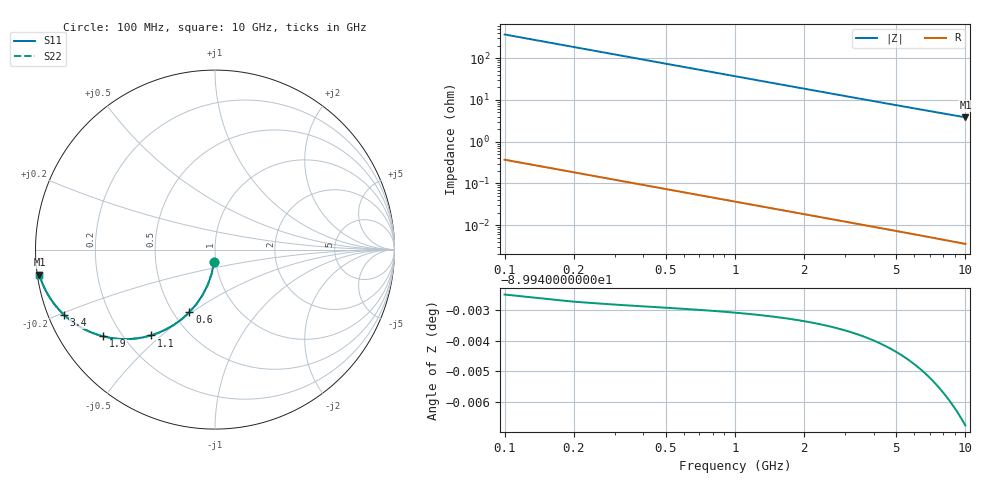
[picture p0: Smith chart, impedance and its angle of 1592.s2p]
# Hz S RI R 50.00
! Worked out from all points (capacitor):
!   100 points, 100 MHz to 10 GHz, reference 50 ohm
!   read as one part in shunt: C = 4.32 pF near 100 MHz
!   lowest |Z| = 3.83 ohm at 10 GHz (marker M1)
!   S11 on the Smith chart (normalised r, x): 100 MHz: 0.98, -0.13; 600 MHz: 0.60, -0.49; 1.1 GHz: 0.31, -0.46; 1.9 GHz: 0.13, -0.34; 3.4 GHz: 0.05, -0.21; 10 GHz: 0.01, -0.07
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1e8  -0.00464 -0.0674  0.9953 -0.0675  0.9953 -0.0675  -0.00464 -0.0674
2e8  -0.0182 -0.133  0.9818 -0.1332  0.9818 -0.1332  -0.0182 -0.133
3e8  -0.0399 -0.1951  0.9601 -0.1954  0.9601 -0.1954  -0.0399 -0.1951
4e8  -0.0687 -0.2522  0.9313 -0.2526  0.9313 -0.2526  -0.0687 -0.2522
5e8  -0.1032 -0.3035  0.8968 -0.304  0.8968 -0.304  -0.1032 -0.3035
6e8  -0.1421 -0.3484  0.8579 -0.3489  0.8579 -0.3489  -0.1421 -0.3484
7e8  -0.1838 -0.3865  0.8161 -0.3872  0.8161 -0.3872  -0.1838 -0.3865
8e8  -0.2272 -0.4181  0.7728 -0.4189  0.7728 -0.4189  -0.2272 -0.4181
9e8  -0.271 -0.4436  0.7289 -0.4444  0.7289 -0.4444  -0.271 -0.4436
1.1e9  -0.3568 -0.478  0.6432 -0.4791  0.6432 -0.4791  -0.3568 -0.478
1.4e9  -0.4728 -0.4981  0.5272 -0.4994  0.5272 -0.4994  -0.4728 -0.4981
1.8e9  -0.5966 -0.4892  0.4034 -0.4909  0.4034 -0.4909  -0.5966 -0.4892
1.9e9  -0.6222 -0.4834  0.3778 -0.4852  0.3778 -0.4852  -0.6222 -0.4834
2.2e9  -0.6879 -0.4618  0.312 -0.4639  0.312 -0.4639  -0.6879 -0.4618
2.6e9  -0.7545 -0.4286  0.2455 -0.4312  0.2455 -0.4312  -0.7545 -0.4286
3e9  -0.8033 -0.3956  0.1967 -0.3985  0.1967 -0.3985  -0.8033 -0.3956
3.4e9  -0.8396 -0.3648  0.1603 -0.3681  0.1603 -0.3681  -0.8396 -0.3648
4.2e9  -0.8885 -0.3122  0.1115 -0.3163  0.1115 -0.3163  -0.8885 -0.3122
5.1e9  -0.9214 -0.2661  0.0786 -0.2711  0.0786 -0.2711  -0.9214 -0.2661
6.7e9  -0.9528 -0.2082  0.0471 -0.2148  0.0471 -0.2148  -0.9528 -0.2082
8.4e9  -0.9695 -0.1673  0.0305 -0.1756  0.0305 -0.1756  -0.9695 -0.1673
1e10  -0.9783 -0.14  0.0216 -0.15  0.0216 -0.15  -0.9783 -0.14
